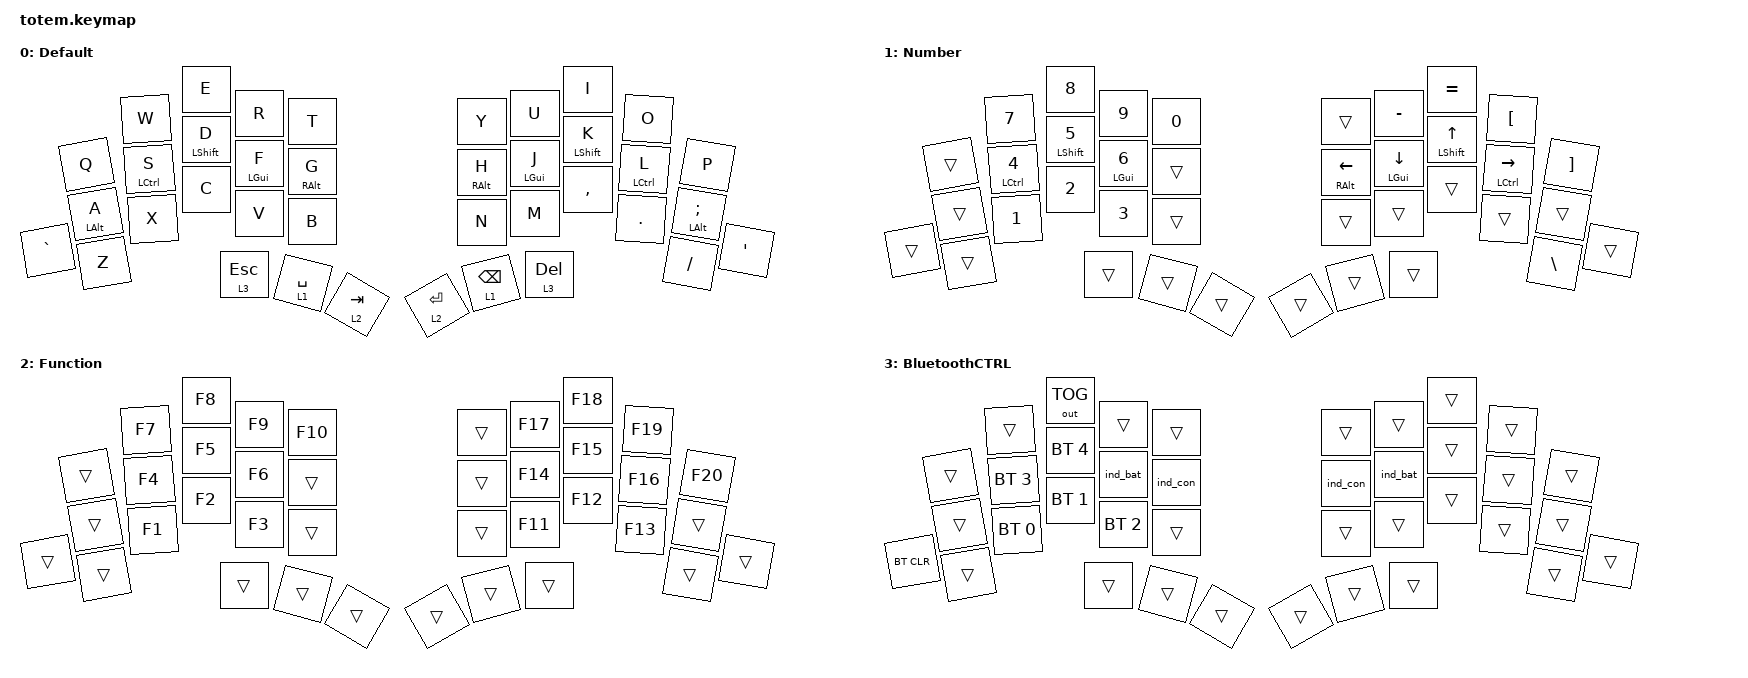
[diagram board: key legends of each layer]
//
//                                                        ▀▀▀▀▀     ▀▀▀▀▀          ▀▀█▀▀
//                                                        ▄▀▀▀▄  ▄  ▄▀▀▀▄  ▄  ▄▀▀▀▄  █  ▄▀▀▀▄
//                                                        █   █  █  █   █  █  █   █  █  █   █
//                                                         ▀▀▀   █   ▀▀▀   █   ▀▀▀   ▀   ▀▀▀
//                                                               █      ▄▄▄█▄▄▄    █   █
//                                                               ▀      █  █  █     █▄█
//                                                             ▀▀▀▀▀    █  █  █      ▀
//                                                                      ▀  ▀  ▀
//
// ▄▄▄▄▄▄▄▄▄▄▄▄▄▄▄▄▄▄▄▄▄▄▄▄▄▄▄▄▄▄▄▄▄▄▄▄▄▄▄▄▄▄▄▄▄▄▄▄▄▄▄▄▄▄▄▄▄▄▄▄▄▄▄▄▄▄▄▄▄▄▄▄▄▄▄▄▄▄▄▄▄▄▄▄▄▄▄▄▄▄▄▄▄▄▄▄▄▄▄▄▄▄▄▄▄▄▄▄▄▄▄▄▄▄▄▄▄▄▄▄▄▄▄▄▄▄▄▄▄▄▄▄▄▄▄▄▄▄▄▄▄▄▄▄▄▄▄▄▄

#include <behaviors/rgbled_widget.dtsi>
#include <behaviors.dtsi>
#include <dt-bindings/zmk/bt.h>
#include <dt-bindings/zmk/keys.h>
#include <dt-bindings/zmk/outputs.h>

#define KEYS_L 0 1 2 3 4 10 11 12 13 14 20 21 22 23 24 25
#define KEYS_R 5 6 7 8 9 15 16 17 18 19 26 27 28 29 30 31
#define THUMBS 32 33 34 35 36 37

&lt {
    flavor = "balanced";
    tapping-term-ms = <300>;
    quick-tap-ms = <175>;
    require-prior-idle-ms = <80>;
    hold-trigger-key-positions = <KEYS_L KEYS_R>;
    hold-trigger-on-release;
};

/ {
    behaviors {
        hml: homerow_mod_left {
            compatible = "zmk,behavior-hold-tap";
            #binding-cells = <2>;
            flavor = "balanced";
            tapping-term-ms = <300>;
            quick-tap-ms = <175>;
            require-prior-idle-ms = <80>;
            bindings = <&kp>, <&kp>;

            hold-trigger-key-positions = <KEYS_R THUMBS>;
            hold-trigger-on-release;
        };

        hmr: homerow_mod_right {
            compatible = "zmk,behavior-hold-tap";
            #binding-cells = <2>;
            flavor = "balanced";
            tapping-term-ms = <300>;
            quick-tap-ms = <175>;
            require-prior-idle-ms = <80>;
            bindings = <&kp>, <&kp>;

            hold-trigger-key-positions = <KEYS_L THUMBS>;
            hold-trigger-on-release;
        };
    };

    keymap {
        compatible = "zmk,keymap";

        default {
            display-name = "Default";
            bindings = <
           &kp Q        &kp W                &kp E              &kp R            &kp T               &kp Y             &kp U            &kp I              &kp O                &kp P
           &hml LALT A  &hml LEFT_CONTROL S  &hml LEFT_SHIFT D  &hml LEFT_GUI F  &hml RIGHT_ALT G    &hmr RIGHT_ALT H  &hmr LEFT_GUI J  &hmr LEFT_SHIFT K  &hmr LEFT_CONTROL L  &hmr LEFT_ALT SEMICOLON
&kp GRAVE  &kp Z        &kp X                &kp C              &kp V            &kp B               &kp N             &kp M            &kp COMMA          &kp DOT              &kp SLASH                &kp APOSTROPHE
                                             &lt 3 ESC          &lt 1 SPACE      &lt 2 TAB           &lt 2 ENTER       &lt 1 BACKSPACE  &lt 3 DEL
            >;
        };

        num {
            display-name = "Number";
            bindings = <
        &trans  &kp NUMBER_7                &kp NUMBER_8              &kp NUMBER_9            &kp NUMBER_0    &trans                     &kp MINUS                 &kp EQUAL                 &kp LEFT_BRACKET               &kp RIGHT_BRACKET
        &trans  &hml LEFT_CONTROL NUMBER_4  &hml LEFT_SHIFT NUMBER_5  &hml LEFT_GUI NUMBER_6  &trans          &hmr RIGHT_ALT LEFT_ARROW  &hmr LEFT_GUI DOWN_ARROW  &hmr LEFT_SHIFT UP_ARROW  &hmr LEFT_CONTROL RIGHT_ARROW  &trans
&trans  &trans  &kp NUMBER_1                &kp NUMBER_2              &kp NUMBER_3            &trans          &trans                     &trans                    &trans                    &trans                         &kp BACKSLASH      &trans
                                            &trans                    &trans                  &trans          &trans                     &trans                    &trans
            >;
        };

        func {
            display-name = "Function";
            bindings = <
        &trans  &kp F7  &kp F8  &kp F9  &kp F10    &trans  &kp F17  &kp F18  &kp F19  &kp F20
        &trans  &kp F4  &kp F5  &kp F6  &trans     &trans  &kp F14  &kp F15  &kp F16  &trans
&trans  &trans  &kp F1  &kp F2  &kp F3  &trans     &trans  &kp F11  &kp F12  &kp F13  &trans   &trans
                        &trans  &trans  &trans     &trans  &trans   &trans
            >;
        };

        ctrl {
            display-name = "BluetoothCTRL";
            bindings = <
            &trans  &trans        &out OUT_TOG  &trans        &trans      &trans    &trans    &trans  &trans  &trans
            &trans  &bt BT_SEL 3  &bt BT_SEL 4  &ind_bat      &ind_con    &ind_con  &ind_bat  &trans  &trans  &trans
&bt BT_CLR  &trans  &bt BT_SEL 0  &bt BT_SEL 1  &bt BT_SEL 2  &trans      &trans    &trans    &trans  &trans  &trans  &trans
                                  &trans        &trans        &trans      &trans    &trans    &trans
            >;
        };
    };
};
